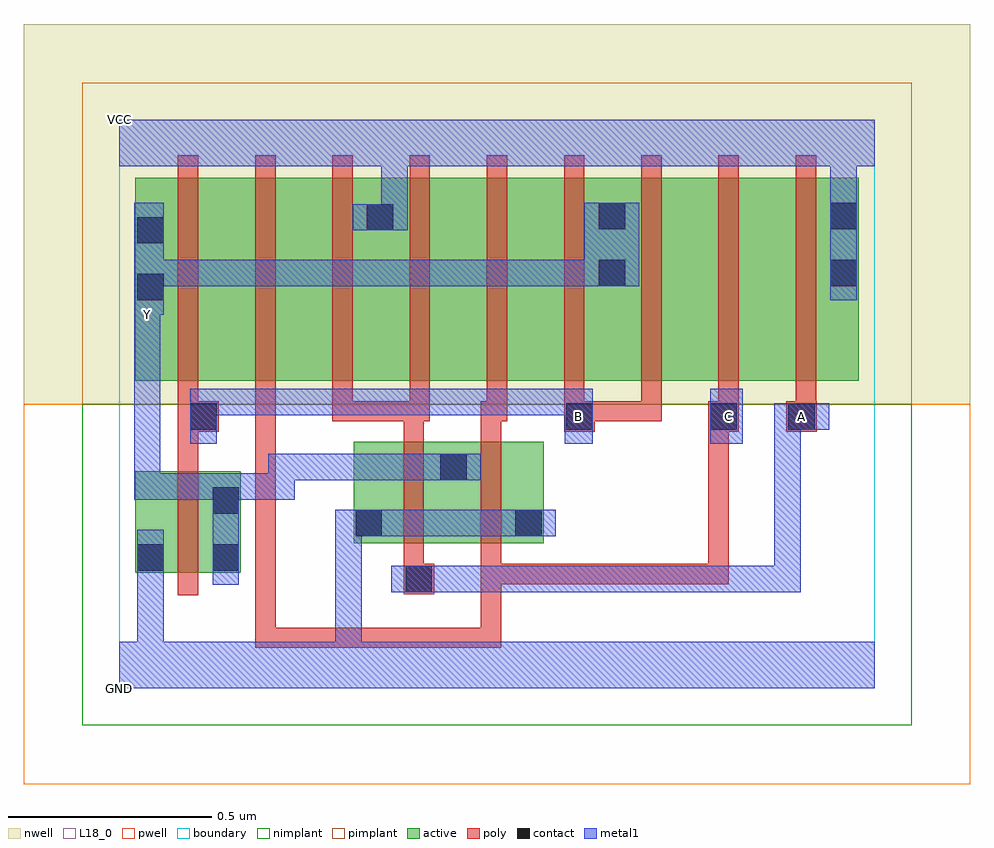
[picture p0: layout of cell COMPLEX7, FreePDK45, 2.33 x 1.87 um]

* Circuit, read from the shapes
.subckt COMPLEX7 A B C GND VCC Y
M1 Y B GND VSUBS nfet w=0.25u l=0.05u
M2 Y A GND VSUBS nfet w=0.25u l=0.05u
M3 GND C Y VSUBS nfet w=0.25u l=0.05u
M4 n1 B Y n2 pfet w=0.5u l=0.05u
M5 n3 C n1 n2 pfet w=0.5u l=0.05u
M6 VCC A n3 n2 pfet w=0.5u l=0.05u
M7 n4 A VCC n2 pfet w=0.5u l=0.05u
M8 n5 C n4 n2 pfet w=0.5u l=0.05u
M9 Y B n5 n2 pfet w=0.5u l=0.05u
M10 n6 B Y n2 pfet w=0.5u l=0.05u
M11 n7 C n6 n2 pfet w=0.5u l=0.05u
M12 VCC A n7 n2 pfet w=0.5u l=0.05u
.ends

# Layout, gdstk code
import gdstk
lib = gdstk.Library(unit=1e-6, precision=1e-09)
def R(c, l, rs):  # rectangles x0, y0, x1, y1
    for r in rs: c.add(gdstk.rectangle(r[:2], r[2:], *l))
def A(c, l, x, y, w, h, nx, ny, dx, dy):  # array of equal rectangles
    R(c, l, [(x+i*dx, y+j*dy, x+i*dx+w, y+j*dy+h) for i in range(nx) for j in range(ny)])
active = (1, 0)
pwell = (2, 0)
nwell = (3, 0)
nimplant = (4, 0)
pimplant = (5, 0)
poly = (9, 0)
contact = (10, 0)
metal1 = (11, 0)
L18_0 = (18, 0)
boundary = (235, 0)

complex7 = lib.new_cell('COMPLEX7')
A(complex7, active, 0.265, 0.757, 0.19, 0.5, 3, 1, 0.57, 0)
A(complex7, active, 0.455, 0.757, 0.225, 0.5, 3, 1, 0.57, 0)
R(complex7, active, [(0.04,0.285,0.115,0.535), (0.04,0.285,0.3,0.535), (0.225,0.285,0.3,0.535), (0.577,0.357,0.652,0.607), (0.577,0.357,0.86,0.607), (0.785,0.357,1.045,0.607), (0.97,0.357,1.045,0.607), (0.785,0.395,0.86,0.582), (0.04,0.757,0.265,1.257), (0.04,0.757,0.145,1.2), (0.605,0.757,0.835,1.257), (1.175,0.757,1.405,1.257), (1.175,0.757,1.25,1.2), (1.745,0.757,1.82,1.257), (0.605,0.807,0.68,1.257)])
R(complex7, pwell, [(-0.235,-0.235,2.095,0.7)])
R(complex7, nwell, [(-0.235,0.7,2.095,1.635)])
R(complex7, nimplant, [(-0.09,-0.09,1.95,0.7)])
R(complex7, pimplant, [(-0.09,0.7,1.95,1.49)])
A(complex7, poly, 0.525, 0.657, 0.05, 0.095, 7, 1, 0.19, 0)
A(complex7, poly, 0.145, 0.702, 0.05, 0.61, 9, 1, 0.19, 0)
R(complex7, poly, [(0.335,0.1,0.385,0.15), (0.335,0.1,0.385,0.15), (0.335,0.1,0.385,0.15), (0.335,0.1,0.385,0.15), (0.335,0.1,0.385,0.15), (0.335,0.1,0.385,0.15), (0.335,0.1,0.385,0.15), (0.335,0.1,0.385,0.15), (0.335,0.1,0.385,0.15), (0.335,0.1,0.385,0.15), (0.335,0.1,0.385,0.15), (0.335,0.1,0.617,0.15), (0.335,0.1,0.385,0.752), (0.567,0.1,0.617,0.15), (0.567,0.1,0.617,0.15), (0.567,0.1,0.617,0.15), (0.567,0.1,0.75,0.15), (0.7,0.1,0.75,0.15), (0.7,0.1,0.75,0.15), (0.7,0.1,0.75,0.15), (0.7,0.1,0.94,0.15), (0.89,0.1,0.94,0.15), (0.89,0.1,0.94,0.307), (0.145,0.23,0.195,0.59), (0.7,0.232,0.775,0.307), (0.7,0.257,0.75,0.352), (0.89,0.257,0.94,0.352), (0.89,0.257,0.94,0.307), (0.89,0.257,0.94,0.307), (0.89,0.257,0.94,0.307), (0.89,0.257,1.202,0.307), (1.152,0.257,1.202,0.307), (1.152,0.257,1.202,0.307), (1.152,0.257,1.202,0.307), (1.152,0.257,1.202,0.307), (1.152,0.257,1.202,0.307), (1.152,0.257,1.367,0.307), (1.317,0.257,1.367,0.307), (1.317,0.257,1.367,0.307), (1.317,0.257,1.367,0.307), (1.317,0.257,1.5,0.307), (1.45,0.257,1.5,0.307), (1.45,0.257,1.5,0.682), (0.7,0.302,0.75,0.662), (0.89,0.302,0.94,0.662), (0.145,0.54,0.195,0.682), (0.7,0.612,0.75,0.707), (0.89,0.612,0.94,0.707), (0.145,0.632,0.245,0.707), (1.095,0.632,1.17,0.707), (1.45,0.632,1.525,0.707), (1.45,0.632,1.5,0.682), (1.45,0.632,1.5,0.682), (1.642,0.632,1.717,0.707), (0.145,0.657,0.195,0.752), (0.525,0.657,0.575,0.707), (0.525,0.657,0.575,0.707), (0.525,0.657,0.575,0.707), (0.525,0.657,0.75,0.707), (0.7,0.657,0.765,0.707), (0.89,0.657,0.955,0.707), (1.12,0.657,1.17,0.707), (1.12,0.657,1.17,0.707), (1.12,0.657,1.335,0.707), (1.285,0.657,1.335,0.707)])
R(complex7, contact, [(0.705,0.237,0.77,0.302), (0.045,0.29,0.11,0.355), (0.23,0.29,0.295,0.355), (0.582,0.375,0.647,0.44), (0.975,0.375,1.04,0.44), (0.23,0.43,0.295,0.495), (0.79,0.512,0.855,0.577), (0.175,0.637,0.24,0.702), (1.1,0.637,1.165,0.702), (1.455,0.637,1.52,0.702), (1.647,0.637,1.712,0.702), (0.045,0.955,0.11,1.02), (1.18,0.99,1.245,1.055), (1.75,0.99,1.815,1.055), (0.045,1.095,0.11,1.16), (0.61,1.127,0.675,1.192), (1.18,1.13,1.245,1.195), (1.75,1.13,1.815,1.195)])
R(complex7, metal1, [(0,0,1.86,0.115), (0.045,0.05,0.11,0.115), (0.045,0.05,0.11,0.115), (0.045,0.05,0.11,0.32), (0.532,0.05,0.597,0.44), (0.67,0.237,0.805,0.302), (0.74,0.237,0.82,0.302), (0.755,0.237,0.82,0.302), (0.755,0.237,1.005,0.302), (0.94,0.237,1.005,0.302), (0.94,0.237,1.005,0.302), (0.94,0.237,1.005,0.302), (0.94,0.237,1.142,0.302), (1.077,0.237,1.142,0.302), (1.077,0.237,1.347,0.302), (1.282,0.237,1.347,0.302), (1.282,0.237,1.347,0.302), (1.282,0.237,1.347,0.302), (1.282,0.237,1.347,0.302), (1.282,0.237,1.347,0.302), (1.282,0.237,1.347,0.302), (1.282,0.237,1.347,0.302), (1.282,0.237,1.485,0.302), (1.42,0.237,1.485,0.302), (1.42,0.237,1.485,0.302), (1.42,0.237,1.485,0.302), (1.42,0.237,1.677,0.302), (1.612,0.237,1.677,0.302), (1.612,0.237,1.677,0.702), (0.045,0.255,0.11,0.32), (0.045,0.255,0.11,0.32), (0.045,0.255,0.11,0.32), (0.045,0.255,0.11,0.32), (0.045,0.255,0.11,0.39), (0.23,0.255,0.295,0.53), (0.532,0.375,0.597,0.44), (0.532,0.375,0.597,0.44), (0.532,0.375,0.597,0.44), (0.532,0.375,0.597,0.44), (0.532,0.375,0.597,0.44), (0.532,0.375,0.597,0.44), (0.532,0.375,0.682,0.44), (0.617,0.375,0.867,0.44), (0.802,0.375,0.867,0.44), (0.802,0.375,0.867,0.44), (0.802,0.375,0.867,0.44), (0.802,0.375,1.005,0.44), (0.94,0.375,1.005,0.44), (0.94,0.375,1.005,0.44), (0.94,0.375,1.075,0.44), (0.037,0.465,0.102,0.53), (0.037,0.465,0.102,0.53), (0.037,0.465,0.102,0.53), (0.037,0.465,0.295,0.53), (0.037,0.465,0.102,0.917), (0.23,0.465,0.432,0.53), (0.367,0.465,0.432,0.577), (0.367,0.512,0.432,0.577), (0.367,0.512,0.432,0.577), (0.367,0.512,0.57,0.577), (0.505,0.512,0.57,0.577), (0.505,0.512,0.57,0.577), (0.505,0.512,0.57,0.577), (0.505,0.512,0.82,0.577), (0.755,0.512,0.82,0.577), (0.755,0.512,0.82,0.577), (0.755,0.512,0.89,0.577), (0.175,0.602,0.24,0.737), (1.097,0.602,1.165,0.737), (1.455,0.602,1.535,0.737), (1.612,0.637,1.677,0.702), (1.612,0.637,1.677,0.702), (1.612,0.637,1.747,0.702), (0.175,0.672,0.247,0.737), (0.182,0.672,0.247,0.737), (0.182,0.672,0.432,0.737), (0.367,0.672,0.432,0.737), (0.367,0.672,0.432,0.737), (0.367,0.672,0.432,0.737), (0.367,0.672,0.57,0.737), (0.505,0.672,0.57,0.737), (0.505,0.672,0.57,0.737), (0.505,0.672,0.57,0.737), (0.505,0.672,0.867,0.737), (0.802,0.672,0.867,0.737), (0.802,0.672,0.867,0.737), (0.802,0.672,0.867,0.737), (0.802,0.672,1.005,0.737), (0.94,0.672,1.005,0.737), (0.94,0.672,1.005,0.737), (0.94,0.672,1.005,0.737), (0.94,0.672,1.162,0.737), (0.037,0.852,0.102,0.987), (0.037,0.92,0.102,0.985), (0.037,0.92,0.11,1.195), (1.75,0.955,1.815,1.23), (0.045,0.99,0.247,1.055), (0.182,0.99,0.247,1.055), (0.182,0.99,0.247,1.055), (0.182,0.99,0.247,1.055), (0.182,0.99,0.432,1.055), (0.367,0.99,0.432,1.055), (0.367,0.99,0.432,1.055), (0.367,0.99,0.432,1.055), (0.367,0.99,0.57,1.055), (0.505,0.99,0.57,1.055), (0.505,0.99,0.57,1.055), (0.505,0.99,0.57,1.055), (0.505,0.99,0.867,1.055), (0.802,0.99,0.867,1.055), (0.802,0.99,0.867,1.055), (0.802,0.99,0.867,1.055), (0.802,0.99,1.005,1.055), (0.94,0.99,1.005,1.055), (0.94,0.99,1.005,1.055), (0.94,0.99,1.005,1.055), (0.94,0.99,1.21,1.055), (1.145,0.99,1.21,1.055), (1.145,0.99,1.21,1.055), (1.145,0.99,1.28,1.195), (0.575,1.127,0.71,1.192), (0.645,1.127,0.71,1.35), (1.75,1.165,1.815,1.35), (0,1.285,1.86,1.4)])
R(complex7, L18_0, [(0,0,1.86,0.115), (0.045,0.05,0.11,0.115), (0.045,0.05,0.11,0.115), (0.045,0.05,0.11,0.32), (0.532,0.05,0.597,0.44), (0.67,0.237,0.805,0.302), (0.74,0.237,0.82,0.302), (0.755,0.237,0.82,0.302), (0.755,0.237,1.005,0.302), (0.94,0.237,1.005,0.302), (0.94,0.237,1.005,0.302), (0.94,0.237,1.005,0.302), (0.94,0.237,1.142,0.302), (1.077,0.237,1.142,0.302), (1.077,0.237,1.347,0.302), (1.282,0.237,1.347,0.302), (1.282,0.237,1.347,0.302), (1.282,0.237,1.347,0.302), (1.282,0.237,1.347,0.302), (1.282,0.237,1.347,0.302), (1.282,0.237,1.347,0.302), (1.282,0.237,1.347,0.302), (1.282,0.237,1.485,0.302), (1.42,0.237,1.485,0.302), (1.42,0.237,1.485,0.302), (1.42,0.237,1.485,0.302), (1.42,0.237,1.677,0.302), (1.612,0.237,1.677,0.302), (1.612,0.237,1.677,0.702), (0.045,0.255,0.11,0.32), (0.045,0.255,0.11,0.32), (0.045,0.255,0.11,0.32), (0.045,0.255,0.11,0.32), (0.045,0.255,0.11,0.39), (0.23,0.255,0.295,0.53), (0.532,0.375,0.597,0.44), (0.532,0.375,0.597,0.44), (0.532,0.375,0.597,0.44), (0.532,0.375,0.597,0.44), (0.532,0.375,0.597,0.44), (0.532,0.375,0.597,0.44), (0.532,0.375,0.682,0.44), (0.617,0.375,0.867,0.44), (0.802,0.375,0.867,0.44), (0.802,0.375,0.867,0.44), (0.802,0.375,0.867,0.44), (0.802,0.375,1.005,0.44), (0.94,0.375,1.005,0.44), (0.94,0.375,1.005,0.44), (0.94,0.375,1.075,0.44), (0.037,0.465,0.102,0.53), (0.037,0.465,0.102,0.53), (0.037,0.465,0.102,0.53), (0.037,0.465,0.102,0.917), (0.037,0.465,0.295,0.53), (0.23,0.465,0.432,0.53), (0.367,0.465,0.432,0.577), (0.367,0.512,0.432,0.577), (0.367,0.512,0.432,0.577), (0.367,0.512,0.57,0.577), (0.505,0.512,0.57,0.577), (0.505,0.512,0.57,0.577), (0.505,0.512,0.57,0.577), (0.505,0.512,0.82,0.577), (0.755,0.512,0.82,0.577), (0.755,0.512,0.82,0.577), (0.755,0.512,0.89,0.577), (0.175,0.602,0.24,0.737), (1.097,0.602,1.165,0.737), (1.455,0.602,1.535,0.737), (1.097,0.637,1.162,0.702), (1.467,0.637,1.532,0.702), (1.612,0.637,1.677,0.702), (1.612,0.637,1.677,0.702), (1.612,0.637,1.747,0.702), (1.647,0.637,1.712,0.702), (0.175,0.672,0.247,0.737), (0.182,0.672,0.247,0.737), (0.182,0.672,0.432,0.737), (0.367,0.672,0.432,0.737), (0.367,0.672,0.432,0.737), (0.367,0.672,0.432,0.737), (0.367,0.672,0.57,0.737), (0.505,0.672,0.57,0.737), (0.505,0.672,0.57,0.737), (0.505,0.672,0.57,0.737), (0.505,0.672,0.867,0.737), (0.802,0.672,0.867,0.737), (0.802,0.672,0.867,0.737), (0.802,0.672,0.867,0.737), (0.802,0.672,1.005,0.737), (0.94,0.672,1.005,0.737), (0.94,0.672,1.005,0.737), (0.94,0.672,1.005,0.737), (0.94,0.672,1.162,0.737), (0.037,0.852,0.102,0.987), (0.037,0.887,0.102,0.952), (0.037,0.92,0.102,0.985), (0.037,0.92,0.11,1.195), (1.75,0.955,1.815,1.23), (0.045,0.99,0.247,1.055), (0.182,0.99,0.247,1.055), (0.182,0.99,0.247,1.055), (0.182,0.99,0.247,1.055), (0.182,0.99,0.432,1.055), (0.367,0.99,0.432,1.055), (0.367,0.99,0.432,1.055), (0.367,0.99,0.432,1.055), (0.367,0.99,0.57,1.055), (0.505,0.99,0.57,1.055), (0.505,0.99,0.57,1.055), (0.505,0.99,0.57,1.055), (0.505,0.99,0.867,1.055), (0.802,0.99,0.867,1.055), (0.802,0.99,0.867,1.055), (0.802,0.99,0.867,1.055), (0.802,0.99,1.005,1.055), (0.94,0.99,1.005,1.055), (0.94,0.99,1.005,1.055), (0.94,0.99,1.005,1.055), (0.94,0.99,1.21,1.055), (1.145,0.99,1.21,1.055), (1.145,0.99,1.21,1.055), (1.145,0.99,1.28,1.195), (0.575,1.127,0.71,1.192), (0.645,1.127,0.71,1.35), (1.75,1.165,1.815,1.35), (0,1.285,1.86,1.4)])
R(complex7, boundary, [(0,0,1.86,1.4)])
complex7.add(gdstk.Label('A', (1.68,0.67), layer=11, texttype=0))
complex7.add(gdstk.Label('B', (1.13,0.67), layer=11, texttype=0))
complex7.add(gdstk.Label('C', (1.5,0.67), layer=11, texttype=0))
complex7.add(gdstk.Label('Y', (0.07,0.92), layer=11, texttype=0))
complex7.add(gdstk.Label('VCC', (0,1.4), layer=11, texttype=0))
complex7.add(gdstk.Label('GND', (0,0), layer=11, texttype=0))

lib.write_gds('COMPLEX7.gds')
